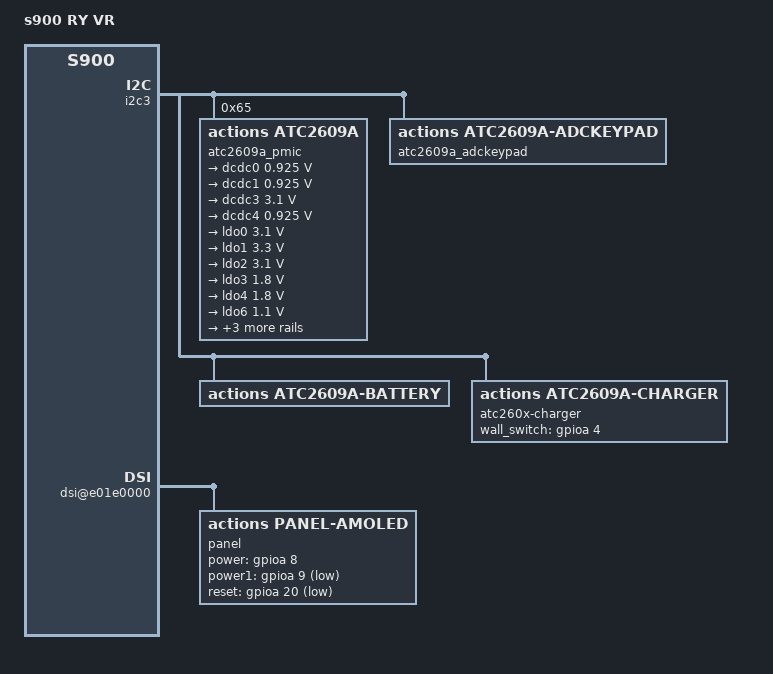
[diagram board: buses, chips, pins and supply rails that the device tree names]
/*
 * Copyright (c) 2015 Actions Semi Co., Ltd.
 *
 * SPDX-License-Identifier:	GPL-2.0+
 */

/dts-v1/;

#include "s900.dtsi"

/ {
	model = "s900 RY VR";
	compatible = "actions,s900_RY_VR", "actions,s900";

	chosen {
		stdout-path = &serial5;
	};

	clock:e0160000 {
		compatible = "actions,owl-clk";
		core_pll = <1104>;
		dev_pll = <660>;
		display_pll = <1056>;
		//ddr_pll_spread_spectrum =<1>; /* 0 : disable ; else enable*/
		//nand_pll_spread_spectrum =<1>;  /* 0 : disable ; else enable*/
		//dp_pll_spread_spectrum =<1>; /* 0 : disable ; else enable*/
	};


	i2c3: i2c@e0176000 {
		atc2609a_pmic {
			compatible = "actions,atc2609a";
			reg = <0x65>;

			atc2609a_rtc {
					compatible = "actions,atc2609a-rtc";
			};

			atc2609a_pstore {
					compatible = "actions,atc2609a-pstore";
			};

			atc2609a_misc {
					compatible = "actions,atc2609a-misc";
			};

			atc2609a_auxadc {
					compatible = "actions,atc2609a-auxadc";
			};

			voltage-regulators {

			/* DCDC0       VDD_CORE
			 * DCDC1       VDD_CPU
			 * DCDC2       VDDR
			 * DCDC3       VCC
			 * DCDC4       VDD_CPUM
			 */
			dcdc0: dcdc0 {
				regulator-name = "dcdc0";
				regulator-min-microvolt = <925000>;
				regulator-max-microvolt = <925000>;
				regulator-always-on;
			};

			dcdc1: dcdc1 {
				regulator-name = "dcdc1";
				regulator-min-microvolt = <925000>;
				regulator-max-microvolt = <925000>;
				regulator-always-on;
			};

			dcdc3: dcdc3 {
				regulator-name = "dcdc3";
				regulator-min-microvolt = <3100000>;
				regulator-max-microvolt = <3100000>;
				regulator-always-on;
			};

			dcdc4: dcdc4 {
				regulator-name = "dcdc4";
				regulator-min-microvolt = <925000>;
				regulator-max-microvolt = <925000>;
				regulator-always-on;
			};

			/* LDO0        SD_VCC     
			 * LDO1        WIFI_3V3  
			 * LDO2        AVCC       
			 * LDO3        ATC2609_VDD   
			 * LDO4        AVCC_1V8   
			 * LDO6        AVDD_1V0   
			 * LDO7        VCC_1V8_IO  
			 * LDO8        UNUSED     
			 * LDO9        RTC_VDD     */

			ldo0: ldo0{
				regulator-name = "ldo0";
				regulator-min-microvolt  = <3100000>;
				regulator-max-microvolt = <3100000>;
				regulator-always-on;
			};

			ldo1: ldo1{
				regulator-name = "ldo1";
				regulator-min-microvolt  = <3300000>;
				regulator-max-microvolt = <3300000>;
			};

			ldo2: ldo2{
				regulator-name = "ldo2";
				regulator-min-microvolt  = <3100000>;
				regulator-max-microvolt = <3100000>;
				regulator-always-on;
			};

			ldo3: ldo3{
				regulator-name = "ldo3";
				regulator-min-microvolt  = <1800000>;
				regulator-max-microvolt = <1800000>;
				regulator-always-on;
			};

			ldo4: ldo4{
				regulator-name = "ldo4";
				regulator-min-microvolt  = <1800000>;
				regulator-max-microvolt = <1800000>;
				regulator-always-on;
			};

	
			ldo6: ldo6{
				regulator-name = "ldo6";
				regulator-min-microvolt  = <1100000>;
				regulator-max-microvolt = <1100000>;
				regulator-always-on;
			};

			ldo7: ldo7{
				regulator-name = "ldo7";
				regulator-min-microvolt  = <1800000>;
				regulator-max-microvolt = <1800000>;
			};

			ldo8: ldo8{
				regulator-name = "ldo8";
				regulator-min-microvolt  = <2100000>;
				regulator-max-microvolt = <3300000>;
			};

			ldo9: ldo9{
				regulator-name = "ldo9";
				regulator-min-microvolt  = <2600000>;
				regulator-max-microvolt = <3300000>;
			};
			};
		};
		atc2609a_adckeypad {
			#define KEY_VOLUMEDOWN	114
			#define KEY_VOLUMEUP	115
			#define KEY_BACK		158
			compatible = "actions,atc2609a-adckeypad";
			keymapsize = <3>;
			adc_channel_name = "REMCON";
			key_val = <KEY_VOLUMEUP KEY_VOLUMEDOWN KEY_BACK>;
			left_adc_val =  <0 1250 750>;
			right_adc_val = <100 1450 850>;
		};

		atc2609a-battery{
			compatible = "actions,atc2609a-battery";
			capacity = <2800>;/*unit:mAh*/
			shutdown_current = <50>;/*unit:ua*/
		};
		atc260x-charger{
			compatible = "actions,atc2609a-charger";
			rsense = <20>;/*unit:mohm*/
			support_adaptor_type = <2>; /*1: DCIN  2: USB  3:DCIN+USB*/
			wall_switch = <&gpioa 4 0>;/*GPIOA4,0: high, 1: low*/
		};
	};

	de@e02e0000 {
		gamma_adjust_needed = <0>;
	};
	dsi@e01e0000 {
		panel_configs = <&config0>;

		/* 1080x1920p60 */
		config0: mipi_configs {
			lcd_mode = <1>;		/* 0: command mode 1: video mode */
			lane_count = <4>;	/* 1: 1,2:1~2, 3:1~3, 4:1~4 */
			lane_polarity = <0>;	/* 0: normal,1: reversed*/
			lane_swap = <0x3210>;	/* sequence of data lines */
			burst_bllp = <60>;	/* 0 ~ 333, just burst mode needed
						 * It will affect the frame rate */
			video_mode = <0>;	/* 0: sync mode, 1:de mode, 2: burst mode */
			pclk_rate = <174>;	/* 174MHz, divider 3*/
		};

		/* E549MFK1.C */
		panel@amoled {
			compatible = "actions,panel-amoled";

			/* panel's fixed info */
			width_mm = <68>;
			height_mm = <121>;
			bpp = <24>;

			is_primary = <1>;
			hotplug_always_on = <0>;

			/* operation delay in ms */
			power_on_delay = <10>;
			power_off_delay = <0>;
			enable_delay = <10>;
			disable_delay = <0>;
			
			/*
			 * property val of the display effects of panel,
			 * range is 0 ~ 100
			 */
			gamma_r_val = <100>;
			gamma_g_val = <100>;
			gamma_b_val = <90>;

			power-gpio = <&gpioa 8 0>;
			power1-gpio = <&gpioa 9 1>;
			reset-gpio = <&gpioa 20 1>;
			/* screen init command info */
			mipi_cmd = <0x0EFE1500 0x004B1500 0x094C1500 0x204D1500 0x404E1500 0x604F1500
				0xA0501500 0xC0511500 0xE0521500 0xFF531500 0x0DFE1500 0x01421500
				0x08181500 0x41081500 0x02461500 0x09721500 0x16031500 0x29041500
				0x0AFE1500 0x17241500 0x07041500 0x0C1A1500 0x340F1500 0x04FE1500
				0x0C001500 0x06051500 0x06061500 0x780A1500 0x880B1500 0x111A1500
				0x93291500 0x932A1500 0x022F1500 0x02311500 0x05331500 0x2D371500
				0x2D381500 0x1E3A1500 0x1E3B1500 0x273D1500 0x803F1500 0x40401500
				0xE0411500 0x2F4F1500 0x1E501500 0x2A681500 0x06FE1500 0x04051500
				0xA2071500 0x020D1500 0xA20F1500 0x04371500 0x83391500 0x03411500
				0x83431500 0x04491500 0xA24B1500 0x02511500 0xA2531500 0x027A1500
				0x837C1500 0x01821500 0x83841500 0xEC851500 0x0F861500 0xFF871500
				0x00881500 0x018A1500 0xA28C1500 0x06FE1500 0xCC001500 0x05051500
				0x8C071500 0xCC081500 0x030D1500 0x8C0F1500 0xCC321500 0x05371500
				0x83391500 0xCC3A1500 0x04411500 0x83431500 0xCC441500 0x05491500
				0x8C4B1500 0xCC4C1500 0x03511500 0x8C531500 0xCC751500 0x037A1500
				0x837C1500 0xCC7D1500 0x02821500 0x83841500 0xEC851500 0x0F861500
				0xFF871500 0x00881500 0x028A1500 0x8C8C1500 0xAA8D1500 0x018E1500
				0xE88F1500 0x0A901500 0x06921500 0x8A931500 0x92941500 0xEC951500
				0x0F961500 0xFF971500 0x00981500 0x029A1500 0x8C9C1500 0x04AC1500
				0x06FE1500 0x12B11500 0x17B21500 0x17B31500 0x17B41500 0x17B51500
				0x11B61500 0x08B71500 0x09B81500 0x06B91500 0x07BA1500 0x17BB1500
				0x17BC1500 0x17BD1500 0x17BE1500 0x17BF1500 0x17C01500 0x17C11500
				0x17C21500 0x17C31500 0x0FC41500 0x0EC51500 0x00C61500 0x01C71500
				0x10C81500 0x00FE1500 0x03C21500>;
			videomode-0 = <&mode0>;
			/* 1080x1920p60 */
			mode0: videomode {
				refresh_rate = <60>;
				xres = <1080>;
				yres = <1920>;

				/* in pico second, 0.000 000 000 001s */
				pixel_clock = <5780>;

				hsw = <4>;
				hbp = <140>;
				/*if the burst mode transmission, hfp need to includ burst_bllp*/
				hfp = <40>;

				vsw = <4>;
				vbp = <12>;
				/* vfp can be as small as possible,
				 * it related to preline time */
				vfp = <20>;

				/* 0: FB_VMODE_NONINTERLACED, 1:FB_VMODE_INTERLACED */
				vmode = <0>;
			};
		};
	};
	xhci@e0400000 {
		actions,vbus-gpio = <&gpiod 1 0>;  /* GPIOD1,  0:  high active ; 1: low active */
	};

	adfu {
		compatible = "actions,usb-adfu";
		detect_times = <100>;
		detect_interval = <5>;	/* total time =  detect_times * detect_interval(ms) */
		vbus_type = <2>;	/* 1: IC detect, 2: PMU detect */
	};
};
